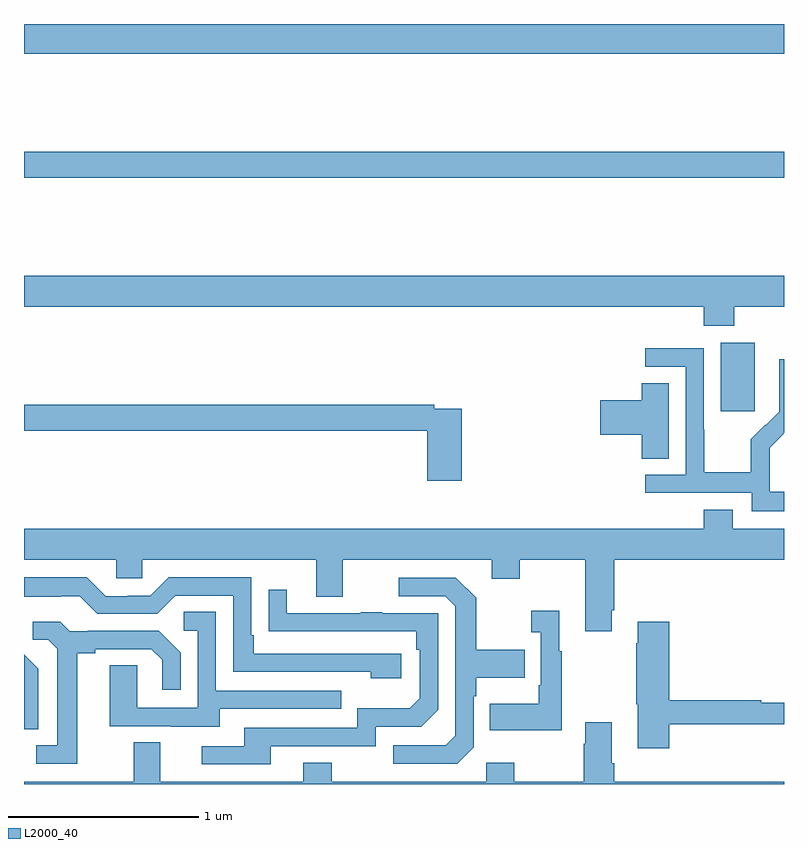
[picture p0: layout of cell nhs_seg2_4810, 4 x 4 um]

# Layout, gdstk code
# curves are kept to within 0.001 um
import gdstk
lib = gdstk.Library(unit=1e-6, precision=1e-09)
def R(c, l, rs):  # rectangles x0, y0, x1, y1
    for r in rs: c.add(gdstk.rectangle(r[:2], r[2:], *l))
def P(c, l, *ps):  # polygons
    for p in ps: c.add(gdstk.Polygon(p, *l))
L2000_40 = (2000, 40)

nhs_seg2_4810 = lib.new_cell('nhs_seg2_4810')
R(nhs_seg2_4810, L2000_40, [(376.667,637.761,376.846,638.122), (373,638.992,377,639.128), (373,639.644,377,639.8)])
P(nhs_seg2_4810, L2000_40, [(376.737,638.312),(377,638.312),(377,638.476),(373,638.476),(373,638.312),(376.577,638.312),(376.577,638.213),(376.737,638.213)],
  [(377,637.339),(376.926,637.339),(376.926,637.473),(376.924,637.473),(376.924,637.57),(376.998,637.644),(376.997,637.645),(377,637.648),(377,638.036),(376.974,638.036),(376.974,637.882),(376.976,637.882),(376.976,637.76),(376.905,637.689),(376.902,637.692),(376.825,637.615),(376.825,637.441),(376.581,637.441),(376.581,637.664),(376.578,637.664),(376.578,638.094),(376.269,638.094),(376.269,637.995),(376.482,637.995),(376.482,637.428),(376.269,637.428),(376.269,637.332),(376.83,637.332),(376.83,637.235),(377,637.235)],
  [(376.393,637.91),(376.25,637.91),(376.25,637.82),(376.032,637.82),(376.032,637.637),(376.25,637.637),(376.25,637.513),(376.393,637.513)],
  [(375.305,637.776),(375.158,637.776),(375.158,637.796),(373,637.796),(373,637.66),(375.122,637.66),(375.122,637.395),(375.305,637.395)],
  [(376.093,636.715),(376.106,636.715),(376.106,636.98),(377,636.98),(377,637.144),(376.729,637.144),(376.729,637.243),(376.577,637.243),(376.577,637.144),(373,637.144),(373,636.98),(373.485,636.98),(373.485,636.882),(373.623,636.882),(373.623,636.98),(374.537,636.98),(374.537,636.786),(374.677,636.786),(374.677,636.98),(375.461,636.98),(375.461,636.881),(375.609,636.881),(375.609,636.98),(375.953,636.98),(375.953,636.603),(376.093,636.603)],
  [(374.986,636.486),(374.209,636.486),(374.209,636.583),(374.196,636.583),(374.196,636.888),(373.761,636.888),(373.665,636.792),(373.547,636.792),(373.547,636.789),(373.431,636.789),(373.331,636.889),(373,636.889),(373,636.785),(373.193,636.785),(373.193,636.789),(373.293,636.789),(373.386,636.696),(373.701,636.696),(373.797,636.792),(374.1,636.792),(374.1,636.39),(374.825,636.39),(374.825,636.356),(374.986,636.356)],
  [(375.366,635.994),(375.366,636.263),(375.379,636.263),(375.379,636.359),(375.635,636.359),(375.635,636.507),(375.379,636.507),(375.379,636.779),(375.273,636.885),(374.973,636.885),(374.973,636.789),(375.216,636.789),(375.27,636.735),(375.27,636.054),(375.219,636.003),(374.943,636.003),(374.943,635.907),(375.279,635.907)],
  [(374.299,636),(374.85,636),(374.85,636.102),(375.09,636.102),(375.18,636.192),(375.18,636.699),(374.885,636.699),(374.885,636.704),(374.773,636.704),(374.773,636.699),(374.383,636.699),(374.383,636.823),(374.287,636.823),(374.287,636.604),(375.064,636.603),(375.064,636.506),(375.084,636.506),(375.084,636.252),(375.031,636.199),(374.754,636.199),(374.754,636.096),(374.159,636.096),(374.159,636),(373.935,636),(373.935,635.904),(374.299,635.904)],
  [(375.829,636.499),(375.817,636.499),(375.817,636.712),(375.669,636.712),(375.669,636.599),(375.72,636.599),(375.72,636.319),(375.708,636.319),(375.708,636.223),(375.451,636.223),(375.451,636.083),(375.829,636.083)],
  [(374.029,636.195),(374.669,636.195),(374.669,636.291),(374.01,636.291),(374.01,636.707),(373.842,636.707),(373.842,636.606),(373.914,636.606),(373.914,636.201),(373.596,636.201),(373.596,636.425),(373.451,636.425),(373.451,636.105),(373.775,636.105),(373.775,636.101),(374.029,636.101)],
  [(376.397,636.114),(377,636.114),(377,636.227),(376.88,636.227),(376.88,636.242),(376.397,636.242),(376.397,636.655),(376.229,636.655),(376.229,636.542),(376.222,636.542),(376.222,636.219),(376.229,636.219),(376.229,635.988),(376.397,635.988)],
  [(373.279,636.488),(373.375,636.488),(373.375,636.51),(373.67,636.51),(373.727,636.453),(373.727,636.297),(373.824,636.297),(373.824,636.49),(373.708,636.606),(373.336,636.606),(373.336,636.603),(373.242,636.603),(373.19,636.655),(373.047,636.655),(373.047,636.558),(373.128,636.558),(373.175,636.511),(373.175,636.003),(373.065,636.003),(373.065,635.907),(373.279,635.907)],
  [(373.074,636.406),(373.001,636.479),(373.002,636.48),(373,636.482),(373,636.088),(373.074,636.088)],
  [(377,635.812),(376.106,635.812),(376.106,635.908),(376.093,635.908),(376.093,636.124),(375.953,636.124),(375.953,636.011),(375.946,636.011),(375.946,635.812),(375.579,635.812),(375.579,635.911),(375.432,635.911),(375.432,635.812),(374.619,635.812),(374.619,635.911),(374.471,635.911),(374.471,635.812),(373.717,635.812),(373.717,636.02),(373.577,636.02),(373.577,635.812),(373,635.812),(373,635.8),(377,635.8)])

lib.write_gds('nhs_seg2_4810.gds')
